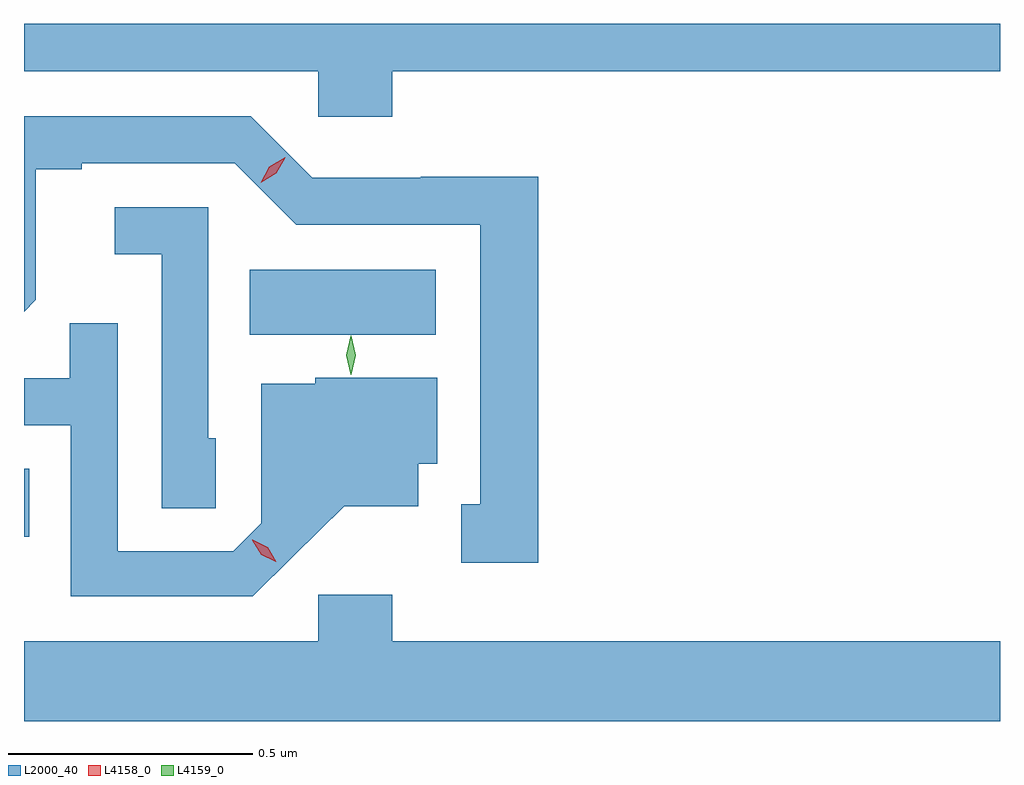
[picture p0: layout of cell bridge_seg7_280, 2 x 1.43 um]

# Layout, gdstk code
import gdstk
lib = gdstk.Library(unit=1e-6, precision=1e-09)
def R(c, l, rs):  # rectangles x0, y0, x1, y1
    for r in rs: c.add(gdstk.rectangle(r[:2], r[2:], *l))
def P(c, l, *ps):  # polygons
    for p in ps: c.add(gdstk.Polygon(p, *l))
L2000_40 = (2000, 40)
L4158_0 = (4158, 0)
L4159_0 = (4159, 0)

bridge_seg7_280 = lib.new_cell('bridge_seg7_280')
R(bridge_seg7_280, L2000_40, [(137.127,1071.59,137.138,1071.73), (137.59,1072.004,137.971,1072.138)])
P(bridge_seg7_280, L2000_40, [(137.127,1072.544),(137.73,1072.544),(137.73,1072.451),(137.882,1072.451),(137.882,1072.544),(139.127,1072.544),(139.127,1072.642),(137.127,1072.642)],
  [(138.181,1072.328),(137.94,1072.328),(137.94,1072.326),(137.718,1072.326),(137.592,1072.452),(137.127,1072.452),(137.127,1072.052),(137.151,1072.076),(137.151,1072.344),(137.245,1072.344),(137.245,1072.356),(137.559,1072.356),(137.685,1072.23),(138.062,1072.23),(138.062,1071.657),(138.023,1071.657),(138.023,1071.537),(138.181,1071.537)],
  [(137.52,1071.792),(137.505,1071.792),(137.505,1072.266),(137.313,1072.266),(137.313,1072.169),(137.409,1072.169),(137.409,1071.649),(137.52,1071.649)],
  [(137.68,1071.551),(137.783,1071.653),(137.935,1071.653),(137.935,1071.74),(137.974,1071.74),(137.974,1071.916),(137.724,1071.916),(137.724,1071.904),(137.613,1071.904),(137.613,1071.618),(137.556,1071.561),(137.319,1071.561),(137.319,1072.028),(137.221,1072.028),(137.221,1071.915),(137.127,1071.915),(137.127,1071.819),(137.223,1071.819),(137.223,1071.468),(137.596,1071.468)],
  [(139.127,1071.376),(137.882,1071.376),(137.882,1071.472),(137.73,1071.472),(137.73,1071.376),(137.127,1071.376),(137.127,1071.212),(139.127,1071.212)])
P(bridge_seg7_280, L4158_0, [(137.612,1072.316),(137.612,1072.316),(137.63,1072.349),(137.662,1072.368),(137.662,1072.368),(137.662,1072.367),(137.644,1072.335),(137.612,1072.316)],
  [(137.643,1071.539),(137.613,1071.554),(137.595,1071.583),(137.595,1071.584),(137.596,1071.584),(137.626,1071.569),(137.644,1071.539),(137.644,1071.539)])
P(bridge_seg7_280, L4159_0, [(137.797,1071.922),(137.797,1071.922),(137.787,1071.962),(137.797,1072.002),(137.797,1072.002),(137.798,1072.002),(137.807,1071.962),(137.798,1071.922)])

lib.write_gds('bridge_seg7_280.gds')
